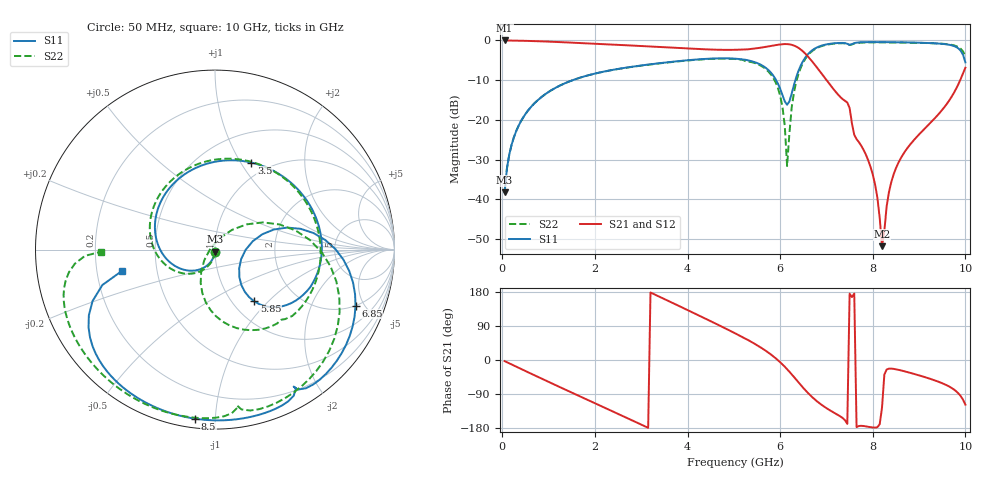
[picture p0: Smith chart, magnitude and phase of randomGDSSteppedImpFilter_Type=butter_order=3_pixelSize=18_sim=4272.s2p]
! freq	dB(S11)	phase(S11)	dB(S12)	phase(S12)
!  dB(S21)	phase(S21)	dB(S22)	phase(S22)
!S-par simulation data
#  GHz  S  DB  R 50
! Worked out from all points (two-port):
!   200 points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, 50 MHz to 10 GHz, reference 50 ohm
!   highest |S21| = -0.01 dB at 50 MHz (marker M1); lowest = -51.8 dB at 8.2 GHz (marker M2)
!   |S21| within 3 dB of the highest: start of sweep to 6.515 GHz
!   lowest |S11| = -38.2 dB at 50 MHz (marker M3), VSWR 1.02, Z = 49.9 - j1.22 ohm
!   |S11| at or under -10 dB: start of sweep to 1.521 GHz; 5.912 GHz to 6.329 GHz (416.7 MHz wide, 6.81 % of centre)
!   |S22| runs from -38.2 to -0.5 dB; largest |S21 - S12| = 0
!   S11 on the Smith chart (normalised r, x): 50 MHz: 1.00, -0.02; 3.5 GHz: 0.83, +1.11; 5.85 GHz: 1.25, -0.83; 6.85 GHz: 2.00, -4.32; 8.5 GHz: 0.05, -0.89; 10 GHz: 0.31, -0.10
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0.05  -38.24 -92.7  -0.01 -3.0  -0.01 -3.0  -38.24 -92.2
0.2  -26.31 -102.7  -0.03 -11.7  -0.03 -11.7  -26.30 -100.9
0.5  -18.53 -121.8  -0.10 -29.1  -0.10 -29.1  -18.53 -117.4
1.75  -9.12 162.7  -0.69 -100.1  -0.69 -100.1  -9.13 175.6
2.65  -6.89 112.1  -1.20 -150.6  -1.20 -150.6  -6.92 125.2
3.4  -5.72 72.4  -1.64 166.6  -1.64 166.6  -5.77 79.6
3.5  -5.59 67.3  -1.70 160.9  -1.70 160.9  -5.64 73.2
4.3  -4.71 27.1  -2.19 114.2  -2.19 114.2  -4.78 21.1
5.05  -4.61 -10.8  -2.35 69.1  -2.35 69.1  -4.70 -29.5
5.85  -8.83 -52.9  -1.28 9.9  -1.28 9.9  -9.42 -94.2
6.05  -13.76 -48.5  -0.95 -11.6  -0.95 -11.6  -16.74 -121.9
6.15  -16.20 -20.0  -0.93 -24.2  -0.93 -24.2  -31.63 168.4
6.35  -9.18 18.8  -1.56 -52.3  -1.56 -52.3  -10.28 29.7
6.7  -2.42 -9.0  -5.41 -98.9  -5.41 -98.9  -2.60 -20.8
6.85  -1.48 -21.8  -7.67 -114.2  -7.67 -114.2  -1.62 -36.8
7.5  -1.11 -60.1  -17.02 175.0  -17.02 175.0  -1.14 -81.9
8  -0.42 -79.1  -33.78 -178.1  -33.78 -178.1  -0.49 -102.8
8.2  -0.42 -86.4  -51.81 -125.1  -51.81 -125.1  -0.49 -110.6
8.35  -0.44 -91.6  -38.16 -22.8  -38.16 -22.8  -0.51 -116.1
8.5  -0.46 -96.7  -32.19 -24.4  -32.19 -24.4  -0.52 -121.4
9.5  -0.86 -131.8  -17.48 -61.3  -17.48 -61.3  -0.83 -155.1
10  -5.52 -167.2  -6.87 -117.9  -6.87 -117.9  -3.92 -178.9
